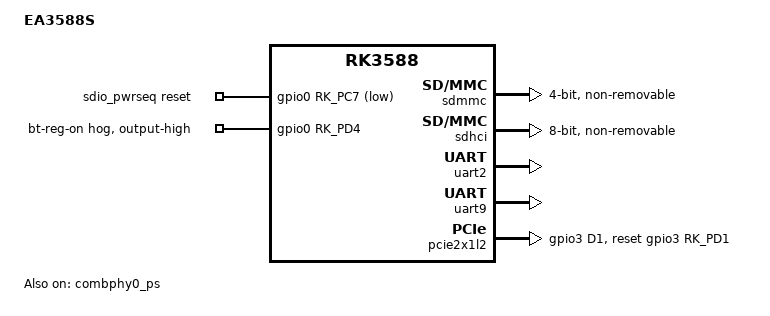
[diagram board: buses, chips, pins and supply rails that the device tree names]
// SPDX-License-Identifier: (GPL-2.0+ OR MIT)
/*
 * iflytek EA3588S (RK3588S) — P2 起草版（staging，非最终产物）
 *
 * 基座：mainline v6.12 arch/arm64/boot/dts/rockchip/rk3588s.dtsi
 *       （v6.12 起为薄壳：include rk3588-base.dtsi + rk3588-opp.dtsi；2026-10-27 实测）
 * 参考源：/mnt/armbian-work/source/ea_3588s/kernel-5.10.226/ea3588s.dts（反编译产物，
 *         仅作属性取值参考，不直接复制；phandle 均已手工解析为符号引用）
 *
 * GPIO phandle 解析记录（反编译 → 符号）：
 *   0x14c = gpio@fd8a0000 = &gpio0 （主线 rk3588-base.dtsi L2853 同址确认）
 *   0x110 = gpio@fec40000 = &gpio3 （主线 rk3588-base.dtsi L3297 同址确认）
 *        【P8 勘误】P2 注释曾误写为 gpio@fec20000=&gpio1；工厂 DT 7443 行
 *        phandle 0x110 = gpio@fec40000 = &gpio3（fec20000 是 gpio1 的地址）。
 *        仅注释误差：本 DTS 实际属性只引用 0x14c/gpio0，未受影响。
 *   pin 编号：0x00=A0 … 0x17=C7(23) … 0x1a=D2(26) … 0x1c=D4(28) … 0x1d=D5(29)
 *
 * 本文件尚未编译（P3 `make dtbs` 时验证）；dt-bindings 依赖：
 *   <dt-bindings/gpio/gpio.h>, <dt-bindings/pinctrl/rockchip.h>
 */

/dts-v1/;

#include "rk3588s.dtsi"
#include <dt-bindings/gpio/gpio.h>
#include <dt-bindings/pinctrl/rockchip.h>

/ {
	model = "EA3588S";
	compatible = "iflytek,rk3588s-aibox", "rockchip,rk3588";

	/*
	 * SDIO Wi-Fi 上电时序（Fn-Link 6252B-SRB = RTL8852BS）
	 * src: ea3588s.dts L8632-8640 (sdio-pwrseq)
	 *   compatible = "mmc-pwrseq-simple"   —— 主线标准驱动，ophub config-6.12
	 *                                         已启用 CONFIG_PWRSEQ_SIMPLE=y
	 *   reset-gpios  = <0x14c 0x17 0x01>   → <&gpio0 RK_PC7 GPIO_ACTIVE_LOW>
	 *                                         (WIFI_REG_ON，低电平复位/保持，高电平使能)
	 *   post-power-on-delay-ms = <0xc8>    → <200>
	 *   vendor 侧另有 pinctrl-0 = <0x1bf>(sdmmc-pwren 组，把 GPIO0_C7 配为 GPIO 功能)；
	 *   主线 mmc-pwrseq-simple 通过 gpiod 直接请求 GPIO，无需额外 pinctrl，故不迁移。
	 */
	sdio_pwrseq: sdio-pwrseq {
		compatible = "mmc-pwrseq-simple";
		reset-gpios = <&gpio0 RK_PC7 GPIO_ACTIVE_LOW>;
		post-power-on-delay-ms = <200>;
	};

	/*
	 * ========== 以下节点为 P4/P5 待定项，不启用 ==========
	 * 以太网 GMAC / PHY（vendor 节点齐全，rgmii 延时与 PHY 型号需实机核对）
	 * USB2/USB3、HDMI、音频、PMIC 与全部 regulator
	 *   —— PMIC 型号未确认【尚待验证】：vendor 反编译树含完整供电定义，
	 *      但不得假设为 rk806 直接照抄；P4 串口日志 + i2c 探测后回填。
	 *   —— 最小启动集（eMMC + UART9 + SDIO Wi-Fi）不依赖这些节点。
	 */
};

/*
 * BT_REG_ON（GPIO0_D4，高有效）—— BT-A（rtk_hciattach）路线的供电接管。
 * src: ea3588s.dts L8647 (BT,reset_gpio = <0x14c 0x1c 0x00>)
 * 用 gpio-hog 在内核启动时拉高，替代 BSP bluetooth-platdata 驱动（主线无此驱动，不迁移节点）。
 * 若 P5 改选 BT-B（serdev），删除本 hog，改为在 &uart9 下挂：
 *   bluetooth { compatible = "realtek,rtl8852bs-bt";
 *               enable-gpios = <&gpio0 RK_PD4 GPIO_ACTIVE_HIGH>; ... }
 * （compatible 需内核小补丁，见 P1 报告 §6.2。）
 */
&gpio0 {
	bt-reg-on-hog {
		gpio-hog;
		gpios = <RK_PD4 GPIO_ACTIVE_HIGH>;
		output-high;
		line-name = "bt-reg-on";
	};
};

/*
 * SDIO Wi-Fi 控制器：fe2c0000。
 * 注意：主线标签为 &sdmmc（RK3588 上该控制器常规用途是 TF 卡），vendor 将其
 * 整体配置为 SDIO Wi-Fi —— 以节点地址为准，标签名不影响硬件行为。
 * src: ea3588s.dts L5397-5416 (mmc@fe2c0000, status okay)
 *   no-sd; no-mmc; bus-width=<4>; disable-wp; cap-sd-highspeed; cap-sdio-irq;
 *   keep-power-in-suspend; mmc-pwrseq; non-removable; sd-uhs-sdr104;
 *   max-frequency=<0xbebc200>=200MHz（主线 base dtsi 默认值相同，不重复写）
 * pinctrl：vendor 仅配 clk/cmd/bus4 三组（L7925-7935 = sdmmc-clk/cmd/bus4，
 * 引脚 GPIO4_D5/D4/D0-D3，func1），未配 det —— 与 SDIO 场景一致，
 * 故覆写主线默认的 4 组（去掉 &sdmmc_det，避免 det 引脚被挪作他用时冲突）。
 */
&sdmmc {
	bus-width = <4>;
	no-sd;
	no-mmc;
	non-removable;
	cap-sdio-irq;
	cap-sd-highspeed;
	keep-power-in-suspend;
	disable-wp;
	mmc-pwrseq = <&sdio_pwrseq>;
	pinctrl-0 = <&sdmmc_clk &sdmmc_cmd &sdmmc_bus4>;
	status = "okay";
};

/*
 * eMMC：fe2e0000（SDHCI 5.1）。
 * src: ea3588s.dts L5435-5460 (mmc@fe2e0000, status okay)
 *   bus-width=<8>; no-sdio; no-sd; non-removable; mmc-hs400-1_8v;
 *   card-detect-delay=<0x4b0>=1200; max-frequency=200MHz（主线默认一致）
 * 主线 base dtsi 已提供时钟/reset 定义；此处只补板级属性。
 */
&sdhci {
	bus-width = <8>;
	no-sdio;
	no-sd;
	non-removable;
	mmc-hs400-1_8v;
	card-detect-delay = <1200>;
	status = "okay";
};

/*
 * UART2（调试串口，feb50000）。
 * src: ea3588s.dts L6463-6472 (status=disabled, pinctrl-0=uart2m1-xfer)
 *      + L8793 bootargs earlycon=uart8250,mmio32,0xfeb50000
 * P5-G 曾用 uart2m1_xfer，实机证实串口 RX 失效（见 P5G_UART_RX_Audit）。
 * P5-H 修复：改回 uart2m0_xfer —— 板载调试排针 GPIO0_B5(TX)/GPIO0_B6(RX)，
 * func 10，与原厂 fiq-debugger 及工厂实机 pinmux（dev_对照表 L427-428）一致。
 * uart2m1_xfer 是 GPIO4_D0/D1，与 SDIO Wi-Fi 数据线（sdmmc_bus4）冲突，
 * 不可作调试串口。本次修复即恢复调试串口 RX/TX 引脚复用。
 * 注意：基树 rk3588-base.dtsi 默认 uart2m1_xfer，本行必须显式写 m0，不可删。
 */
&uart2 {
	pinctrl-0 = <&uart2m0_xfer>;
	status = "okay";
};

/*
 * UART9（蓝牙 H5）：febc0000。
 * src: ea3588s.dts serial@febc0000 (status okay, pinctrl-0=<0x171 0x172>)
 * vendor 0x171/0x172 = uart9m2-xfer / uart9m2-ctsn（func 0x0a=10）；
 * 引脚与主线 rk3588-base-pinctrl.dtsi L3378-3400 完全一致：
 *   uart9m2_xfer  = GPIO3_D4(RX) + GPIO3_D5(TX)
 *   uart9m2_ctsn  = GPIO3_D3
 *   uart9m2_rtsn  = GPIO3_D2
 * 主线 &uart9 默认 pinctrl-0 = <&uart9m1_xfer>（rk3588-base.dtsi L2311），必须覆写为 m2。
 * vendor 另有 uart9m2-rtsn 组（0x1c0）但未放入 uart9 默认 pinctrl，而是交由 BSP
 * bluetooth 驱动在 rts_gpio 状态间切换；其 `uart_rts_gpios=<0x110 0x1a 0x01>`
 * 【P8 勘误】0x110=&gpio3、0x1a=26=RK_PD2 → 实为 GPIO3_D2（flag 0x01=ACTIVE_LOW），
 * 与 uart9m2_rtsn(GPIO3_D2) 同脚一致——P2 曾因 0x110 误译成 GPIO1 而判为
 * "BSP 模板残留"，勘误后修正为 RTS 脚本身；三组全配的处置不变。
 * P2 采保守策略：三组全配（HW 流控交给 8250 核心）；若 P5 发现流控异常，
 * 去掉 &uart9m2_rtsn 再试。
 */
&uart9 {
	pinctrl-0 = <&uart9m2_xfer &uart9m2_ctsn &uart9m2_rtsn>;
	status = "okay";
};

/*
 * fe2d0000（主线 &sdio）：vendor status = "disabled"（ea3588s.dts L5421-5433）。
 * 【尚待验证 / P4 关键发现】EA3588S 出厂 DTB 没有任何启用的 TF 卡节点，
 * 也无 cd-gpios —— TF 卡槽是否物理存在、若存在接在哪个控制器（fe2d？）无法
 * 从 DTS 判定。影响：P4“TF 卡首启”计划可能需要改为 RKDevTool Option 1 直刷 eMMC。
 * P4 串口日志确认后再决定是否把本节点启用为 TF 卡（含 cd 引脚定义）。
 */
&sdio {
	status = "disabled";
};

/*
 * Wi-Fi/BT 其余 GPIO（仅记录，不建节点——主线侧无对应消费者，P5 按需启用）：
 *   WIFI_WAKE_HOST  = GPIO0_A0（vendor WIFI,host_wake_irq = <0x14c 0x00 0x00>，L8659）
 *   BT_WAKE(主→BT)  = GPIO3_B7【P8 勘误：0x110=&gpio3，P2 注释误写 GPIO1_B7】
 *                     （vendor BT,wake_gpio = <0x110 0x0f 0x00>，L8649）
 *   BT_HOST_WAKE    = GPIO0_D5（vendor BT,wake_host_irq = <0x14c 0x1d 0x00>，L8650）
 * BSP 专有节点 wireless-wlan(wlan-platdata) / wireless-bluetooth(bluetooth-platdata)
 * 不迁移（主线无驱动；wifi_chip_type="rtl8852bs" 对 OOT 驱动的 SDIO ID 探测非必需）。
 */

/*
 * ============================================================
 * P8/阶段C：板载 Realtek RTL8111H 千兆以太网（PCIe x1）
 * （用户实物确认：板载 RJ45，芯片 Realtek RTL8111H —— PCIe GbE 控制器，
 *  MAC+PHY 一体；不走 GMAC/RGMII。工厂 DT 无 RGMII PHY、mdio 空，与此一致。）
 *
 * 硬件依据（工厂 DT dump 5124d774 + ea3588s.dts 6026f671，非猜测）：
 *   pcie@fe190000 status="okay"（fe180000 为 disabled，不用）
 *     reset-gpios = <0x110 0x19 0x00>
 *       → <&gpio3 RK_PD1 GPIO_ACTIVE_HIGH>
 *       （0x110 = gpio@fec40000 = &gpio3，主线 rk3588-base.dtsi L3297 同址；
 *        0x19 = 25 = RK_PD1；flag 0x00 = ACTIVE_HIGH）
 *     pinctrl-0 = <0x10f> = "pcie2x1l2/pcie-reset"
 *       rockchip,pins = <0x03 0x19 0x00 0x1a0>
 *       = bank3 pin25 mux0(GPIO) + 0x1a0=pcfg-pull-none(bias-disable)
 *       （主线 rockchip-pinconf.dtsi L18-20 pcfg_pull_none 完全一致）
 *   phy@fee00000（0x10e = combphy0_ps，PCIe PIPE PHY）status="okay"
 *   pcie2x1l2 主线节点 rk3588-base.dtsi L1978：phys=&combphy0_ps PHY_TYPE_PCIE、
 *     max-link-speed=2、num-lanes=1，与工厂 DT 一致，无须改动。
 *
 * 驱动：CONFIG_R8168=m（vendor r8168，2026-11-03 实机 modprobe 实测可加载）。
 *   主线 pcie-dw-rockchip.c L442 devm_gpiod_get_optional("reset",GPIOD_OUT_LOW)，
 *   L258/L272 在 LTSSM 前/后断言与释放 PERST#，与工厂 ACTIVE_HIGH 极性匹配。
 *
 * GMAC（fe1c0000）保持 disabled：本板以太网走 PCIe，工厂 DT 亦为 disabled
 * （无 PHY/MDIO 配置），不得启用。
 * ============================================================
 */

&combphy0_ps {
	status = "okay";
};

&pcie2x1l2 {
	status = "okay";
	pinctrl-names = "default";
	pinctrl-0 = <&pcie2x1l2_reset>;
	reset-gpios = <&gpio3 RK_PD1 GPIO_ACTIVE_HIGH>;
};

&pinctrl {
	pcie2x1l2 {
		pcie2x1l2_reset: pcie-reset {
			rockchip,pins =
				/* pcie2x1l2_perst_n: GPIO3_D1，mux0=GPIO */
				<3 RK_PD1 RK_FUNC_GPIO &pcfg_pull_none>;
		};
	};
};
